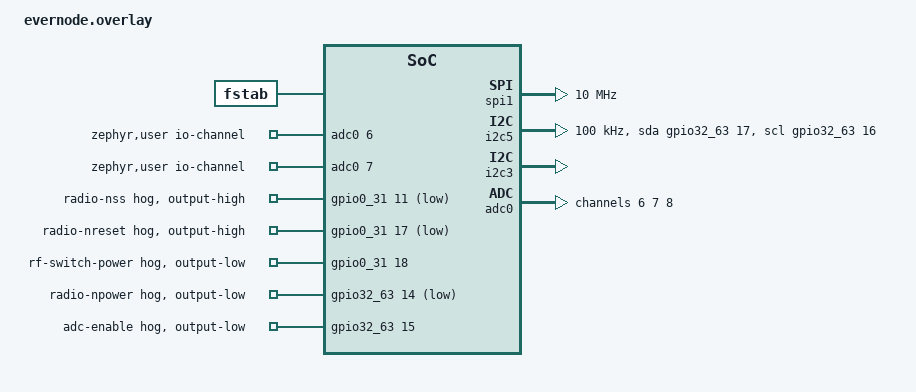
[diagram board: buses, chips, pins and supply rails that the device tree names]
/ {
    chosen {
        zephyr,code-partition = &slot0_partition;
    };

    aliases {
        i2c0 = &i2c5;
        i2c1 = &i2c3;
		/delete-property/ led0;
		/delete-property/ led1;
		/delete-property/ led2;
		/delete-property/ sw0;
		/delete-property/ sw1;
		/delete-property/ mcuboot-led0;
		/delete-property/ pwm-led0;
    };

    fstab {
        compatible = "zephyr,fstab";
        lfs1: lfs1 {
            compatible = "zephyr,fstab,littlefs";
            mount-point = "/flash";
            automount;
            partition = <&storage_partition>;
            read-size = <1>;
            prog-size = <4>;
            cache-size = <8192>;
            lookahead-size = <32>;
            block-cycles = <512>;
        };
    };

    zephyr,user {
        io-channels = <&adc0 6>, <&adc0 7>;
    };
};

&pinctrl {
    i2c5_sleep: i2c5_sleep {
        group1 {
            pinmux = <M5SCL_P48>, <M5SDAWIR3_P49>;
        };
    };
    i2c3_sleep: i2c3_sleep {
        group1 {
            pinmux = <M3SCL_P42>, <M3SDAWIR3_P43>;
        };
    };
    adc0_default: adc0_default {
        group1 {
            pinmux = <ADCSE6_P34>, <ADCSE7_P35>, <ADCD0PSE8_P13>;
            drive-strength = "0.1";
        };
    };
};

&iom1 {
    spi1: spi {
        pinctrl-0 = <&spi1_default>;
        pinctrl-names = "default";
        clock-frequency = <DT_FREQ_M(10)>;
        status = "okay";
    };
};

&iom5 {
    i2c5: i2c {
        pinctrl-0 = <&i2c5_default>;
        pinctrl-1 = <&i2c5_sleep>;
        pinctrl-names = "default", "sleep";
        clock-frequency = <I2C_BITRATE_STANDARD>;
        scl-gpios = <&gpio32_63 16 (GPIO_OPEN_DRAIN | GPIO_PULL_UP)>;
        sda-gpios = <&gpio32_63 17 (GPIO_OPEN_DRAIN | GPIO_PULL_UP)>;
        status = "okay";
    };
};

&i2c3 {
    pinctrl-1 = <&i2c3_sleep>;
    pinctrl-names = "default", "sleep";
    status = "okay";
};

&flash0 {
    /delete-node/ partitions;
    partitions {
        ranges;
        #address-cells = <1>;
        #size-cells = <1>;

        internal_boot_partition: partition@0 {
            compatible = "zephyr,mapped-partition";
            label = "internal_bootloader";
            reg = <0x00000000 0xc000>;
        };

        slot0_partition: partition@c000 {
            compatible = "zephyr,mapped-partition";
            label = "image-0";
            reg = <0x0000c000 0xa0000>;
        };
        storage_partition: partition@ac000 {
            compatible = "zephyr,mapped-partition";
            label = "storage";
            reg = <0x000ac000 0x54000>;
        };
    };
};

/delete-node/ &{/leds};
/delete-node/ &{/buttons};
/delete-node/ &{/pwmleds};

&gpio0_31 {
  radio-nss {
    gpio-hog;
    gpios = <11 GPIO_ACTIVE_LOW>;
    output-high;
  };
  radio-nreset {
    gpio-hog;
    gpios = <17 GPIO_ACTIVE_LOW>;
    output-high;
  };
  rf-switch-power {
    gpio-hog;
    gpios = <18 GPIO_ACTIVE_HIGH>;
    output-low;
  };
};

&gpio32_63 {
  radio-npower {
    gpio-hog;
    gpios = <14 GPIO_ACTIVE_LOW>;
    output-low;
  };
  adc-enable {
    gpio-hog;
    gpios = <15 GPIO_ACTIVE_HIGH>;
    output-low;
  };
};

&adc0 {
	#address-cells = <1>;
	#size-cells = <0>;
    status = "okay";

    // ADCSE6: Vpanel
    channel@6 {
        reg = <6>;
        zephyr,gain = "ADC_GAIN_1";
        zephyr,reference = "ADC_REF_INTERNAL";
        zephyr,acquisition-time = <ADC_ACQ_TIME_DEFAULT>;
        zephyr,resolution = <12>;
    };
    // ADCSE7: Vcap
    channel@7 {
        reg = <7>;
        zephyr,gain = "ADC_GAIN_1";
        zephyr,reference = "ADC_REF_INTERNAL";
        zephyr,acquisition-time = <ADC_ACQ_TIME_DEFAULT>;
        zephyr,resolution = <12>;
    };
    //ADCD0PSE8_P13: Vbatt
    channel@8 {
        reg = <8>;
        zephyr,gain = "ADC_GAIN_1";
        zephyr,reference = "ADC_REF_INTERNAL";
        zephyr,acquisition-time = <ADC_ACQ_TIME_DEFAULT>;
        zephyr,resolution = <12>;
    };
};

&uart0_default {
    group1 {
        pinmux = <UART0TX_P39>;
        bias-pull-up;
    };

    group2 {
        pinmux = <UART0RX_P40>;
        input-enable;
        bias-pull-up;
    };
};
